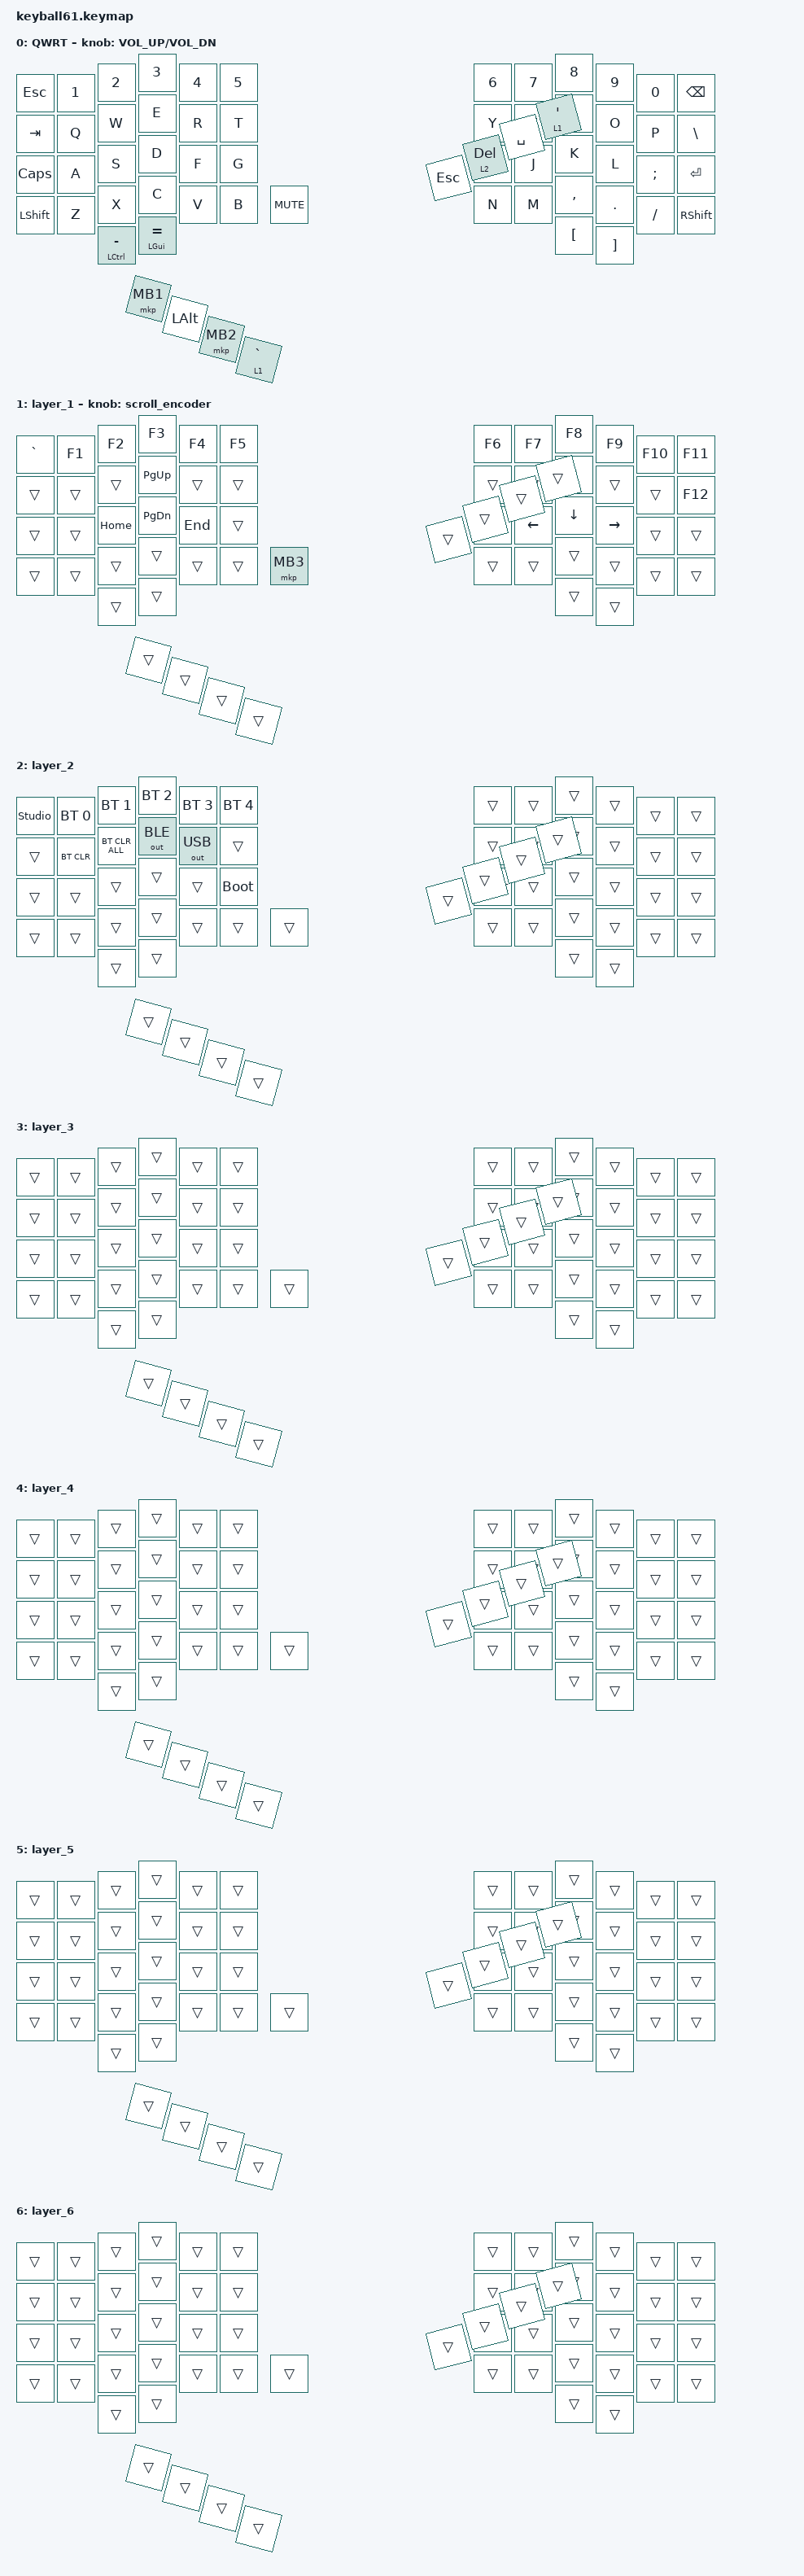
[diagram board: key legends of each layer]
#define ZMK_POINTING_DEFAULT_MOVE_VAL 1200 // 600
#define ZMK_POINTING_ DEFAULT_SCRL_VAL 200 // 10

#include <behaviors/mouse_keys.dtsi>
#include <dt-bindings/zmk/mouse.h>
#include <input/processors.dtsi>
#include <zephyr/dt-bindings/input/input-event-codes.h>
#include <behaviors.dtsi>
#include <dt-bindings/zmk/bt.h>
#include <dt-bindings/zmk/keys.h>
#include <dt-bindings/zmk/outputs.h>
#include <dt-bindings/zmk/pointing.h>

&mmv_input_listener { input-processors = <&zip_xy_scaler 2 1>; };

&msc_input_listener { input-processors = <&zip_scroll_scaler 2 1>; };

&msc {
    acceleration-exponent = <1>;      // 0
    time-to-max-speed-ms = <100>;       // 300
    delay-ms = <0>;                   // 0
};

&mmv {
    time-to-max-speed-ms = <500>;
    acceleration-exponent = <1>;
    trigger-period-ms = <16>;
};

/ {
    scroll_encoder: scroll_encoder {
        compatible = "zmk,behavior-sensor-rotate";
        #sensor-binding-cells = <0>;
        bindings = <&msc SCRL_DOWN>, <&msc SCRL_UP>;

        tap-ms = <100>;
    };

    behaviors {
    };

    keymap {
        compatible = "zmk,keymap";

        default_layer {
            label = "QWRT";
            bindings = <
&kp ESC    &kp N1       &kp N2           &kp N3          &kp N4    &kp N5      &kp N6     &kp N7     &kp N8     &kp N9    &kp N0    &kp BSPC
&kp TAB    &kp Q        &kp W            &kp E           &kp R     &kp T       &kp Y      &kp U      &kp I      &kp O     &kp P     &kp BSLH
&kp CAPS   &kp A        &kp S            &kp D           &kp F     &kp G       &kp H      &kp J      &kp K      &kp L     &kp SEMI  &kp ENTER
&kp LSHFT  &kp Z        &kp X            &kp C           &kp V     &kp B       &kp N      &kp M      &kp COMMA  &kp DOT   &kp FSLH  &kp RSHFT
&mkp MB2   &lt 1 GRAVE  &mt LCTRL MINUS  &mt LGUI EQUAL  &mkp MB1  &kp LALT    &kp SPACE  &lt 1 SQT  &kp LBKT   &kp RBKT  &kp ESC   &lt 2 DEL
                                                                   &kp C_MUTE
            >;

            sensor-bindings = <&inc_dec_kp C_VOL_UP C_VOL_DN>;
        };

        layer_1 {
            bindings = <
&kp GRAVE  &kp F1  &kp F2    &kp F3     &kp F4   &kp F5    &kp F6  &kp F7    &kp F8    &kp F9     &kp F10  &kp F11
&trans     &trans  &trans    &kp PG_UP  &trans   &trans    &trans  &trans    &kp UP    &trans     &trans   &kp F12
&trans     &trans  &kp HOME  &kp PG_DN  &kp END  &trans    &trans  &kp LEFT  &kp DOWN  &kp RIGHT  &trans   &trans
&trans     &trans  &trans    &trans     &trans   &trans    &trans  &trans    &trans    &trans     &trans   &trans
&trans     &trans  &trans    &trans     &trans   &trans    &trans  &trans    &trans    &trans     &trans   &trans
                                                 &mkp MB3
            >;

            sensor-bindings = <&scroll_encoder>;
        };

        layer_2 {
            bindings = <
&studio_unlock  &bt BT_SEL 0  &bt BT_SEL 1    &bt BT_SEL 2  &bt BT_SEL 3  &bt BT_SEL 4  &trans       &trans  &trans  &trans  &trans  &trans
&trans          &bt BT_CLR    &bt BT_CLR_ALL  &out OUT_BLE  &out OUT_USB  &trans        &trans       &trans  &trans  &trans  &trans  &trans
&trans          &trans        &trans          &trans        &trans        &bootloader   &bootloader  &trans  &trans  &trans  &trans  &trans
&trans          &trans        &trans          &trans        &trans        &trans        &trans       &trans  &trans  &trans  &trans  &trans
&trans          &trans        &trans          &trans        &trans        &trans        &trans       &trans  &trans  &trans  &trans  &trans
                                                                          &trans
            >;
        };

        layer_3 {
            bindings = <
&trans  &trans  &trans  &trans  &trans  &trans  &trans  &trans  &trans  &trans  &trans  &trans
&trans  &trans  &trans  &trans  &trans  &trans  &trans  &trans  &trans  &trans  &trans  &trans
&trans  &trans  &trans  &trans  &trans  &trans  &trans  &trans  &trans  &trans  &trans  &trans
&trans  &trans  &trans  &trans  &trans  &trans  &trans  &trans  &trans  &trans  &trans  &trans
&trans  &trans  &trans  &trans  &trans  &trans  &trans  &trans  &trans  &trans  &trans  &trans
                                        &trans
            >;
        };

        layer_4 {
            bindings = <
&trans  &trans  &trans  &trans  &trans  &trans  &trans  &trans  &trans  &trans  &trans  &trans
&trans  &trans  &trans  &trans  &trans  &trans  &trans  &trans  &trans  &trans  &trans  &trans
&trans  &trans  &trans  &trans  &trans  &trans  &trans  &trans  &trans  &trans  &trans  &trans
&trans  &trans  &trans  &trans  &trans  &trans  &trans  &trans  &trans  &trans  &trans  &trans
&trans  &trans  &trans  &trans  &trans  &trans  &trans  &trans  &trans  &trans  &trans  &trans
                                        &trans
            >;
        };

        layer_5 {
            bindings = <
&trans  &trans  &trans  &trans  &trans  &trans  &trans  &trans  &trans  &trans  &trans  &trans
&trans  &trans  &trans  &trans  &trans  &trans  &trans  &trans  &trans  &trans  &trans  &trans
&trans  &trans  &trans  &trans  &trans  &trans  &trans  &trans  &trans  &trans  &trans  &trans
&trans  &trans  &trans  &trans  &trans  &trans  &trans  &trans  &trans  &trans  &trans  &trans
&trans  &trans  &trans  &trans  &trans  &trans  &trans  &trans  &trans  &trans  &trans  &trans
                                        &trans
            >;
        };

        layer_6 {
            bindings = <
&trans  &trans  &trans  &trans  &trans  &trans  &trans  &trans  &trans  &trans  &trans  &trans
&trans  &trans  &trans  &trans  &trans  &trans  &trans  &trans  &trans  &trans  &trans  &trans
&trans  &trans  &trans  &trans  &trans  &trans  &trans  &trans  &trans  &trans  &trans  &trans
&trans  &trans  &trans  &trans  &trans  &trans  &trans  &trans  &trans  &trans  &trans  &trans
&trans  &trans  &trans  &trans  &trans  &trans  &trans  &trans  &trans  &trans  &trans  &trans
                                        &trans
            >;
        };
    };
};
